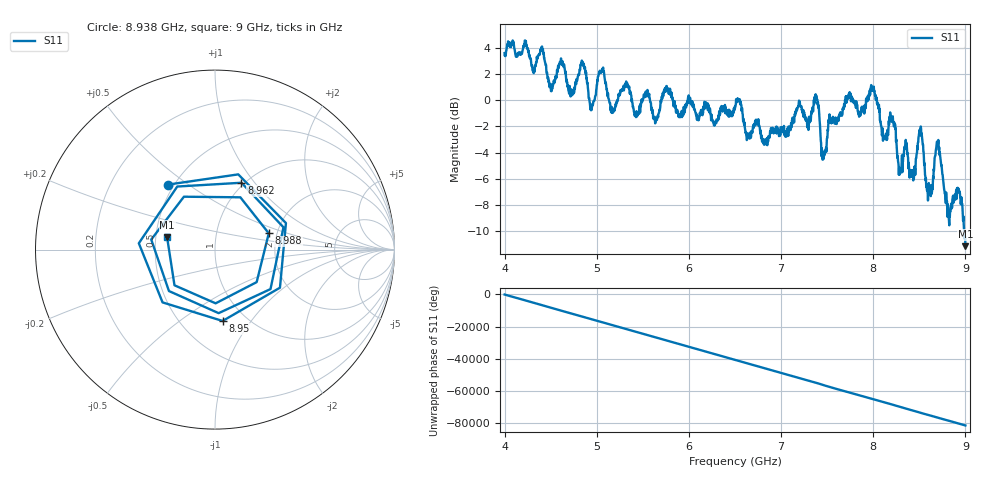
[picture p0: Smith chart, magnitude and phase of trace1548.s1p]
! Created with skrf 1.8.0 (http://scikit-rf.org).
# Hz S RI R 50.0
!freq ReS11 ImS11
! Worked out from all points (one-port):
!   1601 points, 4 GHz to 9 GHz, reference 50 ohm
!   lowest |S11| = -11.2 dB at 9 GHz (marker M1), VSWR 1.76, Z = 28.7 + j4.37 ohm
!   |S11| at or under -10 dB: 8.986792 GHz to end of sweep
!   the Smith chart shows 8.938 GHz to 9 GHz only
!   S11 on the Smith chart (normalised r, x): 8.938 GHz: 0.46, +0.42; 8.95 GHz: 0.78, -0.74; 8.962 GHz: 0.97, +0.86; 8.988 GHz: 1.81, +0.36; 9 GHz: 0.57, +0.09
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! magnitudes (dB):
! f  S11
! 4 GHz  3.6
! 4.625 GHz  2.9
! 4.719 GHz  0.9
! 4.853 GHz  2.7
! 4.947 GHz  -0.5
! 5.05 GHz  2.3
! 5.25 GHz  0.6
! 5.875 GHz  -0.8
! 6.5 GHz  -0.6
! 6.825 GHz  -3.0
! 7.125 GHz  -1.3
! 7.381 GHz  0.4
! 7.462 GHz  -4.5
! 7.75 GHz  0.2
! 7.994 GHz  1.0
! 8.119 GHz  -2.7
! 8.219 GHz  -1.7
! 8.284 GHz  -5.2
! 8.375 GHz  -4.3
! 8.516 GHz  -2.0
! 8.6 GHz  -6.9
! 8.7 GHz  -3.4
! 8.812 GHz  -8.1
! 8.938 GHz  -7.0
! 8.95 GHz  -8.0
! 8.962 GHz  -7.9
! 8.988 GHz  -10.1
! 9 GHz  -11.2
